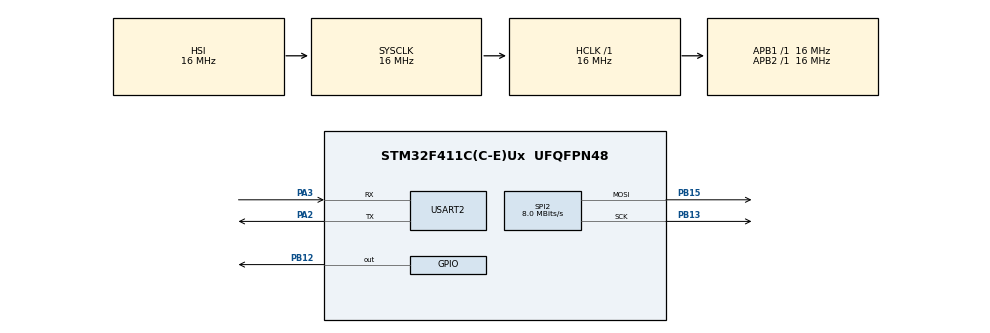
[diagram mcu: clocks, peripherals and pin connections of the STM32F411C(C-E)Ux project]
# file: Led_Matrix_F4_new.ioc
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Dma.Request0=SPI2_TX
Dma.Request1=USART2_RX
Dma.Request2=USART2_TX
Dma.SPI2_TX.0.Direction=DMA_MEMORY_TO_PERIPH
Dma.SPI2_TX.0.FIFOMode=DMA_FIFOMODE_ENABLE
Dma.SPI2_TX.0.FIFOThreshold=DMA_FIFO_THRESHOLD_FULL
Dma.SPI2_TX.0.Instance=DMA1_Stream4
Dma.SPI2_TX.0.MemBurst=DMA_MBURST_SINGLE
Dma.SPI2_TX.0.MemDataAlignment=DMA_MDATAALIGN_BYTE
Dma.SPI2_TX.0.MemInc=DMA_MINC_ENABLE
Dma.SPI2_TX.0.Mode=DMA_NORMAL
Dma.SPI2_TX.0.PeriphBurst=DMA_PBURST_SINGLE
Dma.SPI2_TX.0.PeriphDataAlignment=DMA_PDATAALIGN_BYTE
Dma.SPI2_TX.0.PeriphInc=DMA_PINC_DISABLE
Dma.SPI2_TX.0.Priority=DMA_PRIORITY_LOW
Dma.USART2_RX.1.Direction=DMA_PERIPH_TO_MEMORY
Dma.USART2_RX.1.FIFOMode=DMA_FIFOMODE_DISABLE
Dma.USART2_RX.1.Instance=DMA1_Stream5
Dma.USART2_RX.1.MemDataAlignment=DMA_MDATAALIGN_BYTE
Dma.USART2_RX.1.MemInc=DMA_MINC_ENABLE
Dma.USART2_RX.1.Mode=DMA_NORMAL
Dma.USART2_RX.1.PeriphDataAlignment=DMA_PDATAALIGN_BYTE
Dma.USART2_RX.1.PeriphInc=DMA_PINC_DISABLE
Dma.USART2_RX.1.Priority=DMA_PRIORITY_LOW
Dma.USART2_TX.2.Direction=DMA_MEMORY_TO_PERIPH
Dma.USART2_TX.2.FIFOMode=DMA_FIFOMODE_DISABLE
Dma.USART2_TX.2.Instance=DMA1_Stream6
Dma.USART2_TX.2.MemDataAlignment=DMA_MDATAALIGN_BYTE
Dma.USART2_TX.2.MemInc=DMA_MINC_ENABLE
Dma.USART2_TX.2.Mode=DMA_NORMAL
Dma.USART2_TX.2.PeriphDataAlignment=DMA_PDATAALIGN_BYTE
Dma.USART2_TX.2.PeriphInc=DMA_PINC_DISABLE
Dma.USART2_TX.2.Priority=DMA_PRIORITY_LOW
Mcu.Family=STM32F4
Mcu.Name=STM32F411C(C-E)Ux
Mcu.Package=UFQFPN48
NVIC.DMA1_Stream4_IRQn=true\:0\:0\:false\:false\:true\:false\:true
NVIC.DMA1_Stream5_IRQn=true\:0\:0\:false\:false\:true\:false\:true
NVIC.DMA1_Stream6_IRQn=true\:0\:0\:false\:false\:true\:false\:true
NVIC.PriorityGroup=NVIC_PRIORITYGROUP_4
NVIC.SPI2_IRQn=true\:0\:0\:false\:false\:true\:true\:true
NVIC.TIM3_IRQn=true\:0\:0\:false\:false\:true\:true\:true
NVIC.USART2_IRQn=true\:0\:0\:false\:false\:true\:true\:true
PA13.Mode=Serial_Wire
PA13.Signal=SYS_JTMS-SWDIO
PA14.Mode=Serial_Wire
PA14.Signal=SYS_JTCK-SWCLK
PA2.Mode=Asynchronous
PA2.Signal=USART2_TX
PA3.Mode=Asynchronous
PA3.Signal=USART2_RX
PB12.Signal=GPIO_Output
PB13.Mode=TX_Only_Simplex_Unidirect_Master
PB13.Signal=SPI2_SCK
PB14.Signal=SPI2_MISO
PB15.Mode=TX_Only_Simplex_Unidirect_Master
PB15.Signal=SPI2_MOSI
PH0\ -\ OSC_IN.Mode=HSE-External-Oscillator
PH0\ -\ OSC_IN.Signal=RCC_OSC_IN
PH1\ -\ OSC_OUT.Mode=HSE-External-Oscillator
PH1\ -\ OSC_OUT.Signal=RCC_OSC_OUT
ProjectManager.HeapSize=0x200
ProjectManager.StackSize=0x400
ProjectManager.TargetToolchain=STM32CubeIDE
RCC.AHBFreq_Value=16000000
RCC.APB1Freq_Value=16000000
RCC.APB2Freq_Value=16000000
RCC.CortexFreq_Value=16000000
RCC.HSE_VALUE=25000000
RCC.HSI_VALUE=16000000
RCC.LSE_VALUE=32768
RCC.SYSCLKFreq_VALUE=16000000
RCC.VCOOutputFreq_Value=192000000
SPI2.CalculateBaudRate=8.0 MBits/s
SPI2.Direction=SPI_DIRECTION_2LINES
SPI2.Mode=SPI_MODE_MASTER
SPI2.VirtualType=VM_MASTER
TIM3.Prescaler=15999
USART2.VirtualMode=VM_ASYNC
VP_TIM3_VS_ClockSourceINT.Mode=Internal
board=custom

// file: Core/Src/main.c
/* USER CODE BEGIN Header */
/**
  ******************************************************************************
  * @file           : main.c
  * @brief          : Main program body
  ******************************************************************************
  * @attention
  *
  * <h2><center>&copy; Copyright (c) 2023 STMicroelectronics.
  * All rights reserved.</center></h2>
  *
  * This software component is licensed by ST under BSD 3-Clause license,
  * the "License"; You may not use this file except in compliance with the
  * License. You may obtain a copy of the License at:
  *                        opensource.org/licenses/BSD-3-Clause
  *
  ******************************************************************************
  */
/* USER CODE END Header */
#include "main.h"

/* USER CODE BEGIN Includes */
#include <stdlib.h>
#include "led_matrix.h"
#include "command_line.h"

/* USER CODE END Includes */

SPI_HandleTypeDef hspi2;
DMA_HandleTypeDef hdma_spi2_tx;

TIM_HandleTypeDef htim3;

UART_HandleTypeDef huart2;
DMA_HandleTypeDef hdma_usart2_rx;
DMA_HandleTypeDef hdma_usart2_tx;

void SystemClock_Config(void);
static void MX_GPIO_Init(void);
static void MX_DMA_Init(void);
static void MX_SPI2_Init(void);
static void MX_USART2_UART_Init(void);
static void MX_TIM3_Init(void);

/* USER CODE BEGIN 0 */

uint8_t gu8_uart_rx =0;
LED_MATRIX_DATA_t led_matrix_data;
uint8_t gu8_flag_cplt_update = 0;

void HAL_UART_RxCpltCallback(UART_HandleTypeDef *huart)
{
	if(huart->Instance == huart2.Instance)
	{
		COMMAND_LINE_Receive(gu8_uart_rx);
		HAL_UART_Receive_DMA(&huart2, &gu8_uart_rx, 1);
	}
}

void HAL_SPI_TxCpltCallback(SPI_HandleTypeDef *hspi)
{
	LED_MATRIX_SPI_Handle(&led_matrix_data, hspi);
}

void HAL_TIM_PeriodElapsedCallback(TIM_HandleTypeDef *htim)
{
	if(htim->Instance == htim3.Instance){
		UPDATE_OUTPUT_Buf(&led_matrix_data, &gu8_flag_cplt_update);

	}
}
/* USER CODE END 0 */

int main(void)
{

  /* MCU Configuration--------------------------------------------------------*/

  /* Reset of all peripherals, Initializes the Flash interface and the Systick. */
  HAL_Init();

  /* Configure the system clock */
  SystemClock_Config();

  /* Initialize all configured peripherals */
  MX_GPIO_Init();
  MX_DMA_Init();
  MX_SPI2_Init();
  MX_USART2_UART_Init();
  MX_TIM3_Init();
  /* USER CODE BEGIN 2 */
  LED_MATRIX_Init(&led_matrix_data, &hspi2, GPIOB, 15, 4);

  HAL_UART_Receive_DMA(&huart2, &gu8_uart_rx, 1);

  htim3.Instance->ARR =  led_matrix_data.operation_param.u32_speed_run_text-1;
  HAL_TIM_Base_Start_IT(&htim3);

  /* USER CODE END 2 */

  /* Infinite loop */
  while (1)
  {

    /* USER CODE BEGIN 3 */
	  if(gu8_flag_cplt_update){
		  gu8_flag_cplt_update = 0;
		  PUSH_OUTPUT_Buf(&led_matrix_data);
	  }

  }

  /* USER CODE END 3 */
}

void SystemClock_Config(void)
{
  RCC_OscInitTypeDef RCC_OscInitStruct = {0};
  RCC_ClkInitTypeDef RCC_ClkInitStruct = {0};

  /** Configure the main internal regulator output voltage
  */
  __HAL_RCC_PWR_CLK_ENABLE();
  __HAL_PWR_VOLTAGESCALING_CONFIG(PWR_REGULATOR_VOLTAGE_SCALE1);
  /** Initializes the RCC Oscillators according to the specified parameters
  * in the RCC_OscInitTypeDef structure.
  */
  RCC_OscInitStruct.OscillatorType = RCC_OSCILLATORTYPE_HSI;
  RCC_OscInitStruct.HSIState = RCC_HSI_ON;
  RCC_OscInitStruct.HSICalibrationValue = RCC_HSICALIBRATION_DEFAULT;
  RCC_OscInitStruct.PLL.PLLState = RCC_PLL_NONE;
  if (HAL_RCC_OscConfig(&RCC_OscInitStruct) != HAL_OK)
  {
    Error_Handler();
  }
  /** Initializes the CPU, AHB and APB buses clocks
  */
  RCC_ClkInitStruct.ClockType = RCC_CLOCKTYPE_HCLK|RCC_CLOCKTYPE_SYSCLK
                              |RCC_CLOCKTYPE_PCLK1|RCC_CLOCKTYPE_PCLK2;
  RCC_ClkInitStruct.SYSCLKSource = RCC_SYSCLKSOURCE_HSI;
  RCC_ClkInitStruct.AHBCLKDivider = RCC_SYSCLK_DIV1;
  RCC_ClkInitStruct.APB1CLKDivider = RCC_HCLK_DIV1;
  RCC_ClkInitStruct.APB2CLKDivider = RCC_HCLK_DIV1;

  if (HAL_RCC_ClockConfig(&RCC_ClkInitStruct, FLASH_LATENCY_0) != HAL_OK)
  {
    Error_Handler();
  }
}

static void MX_SPI2_Init(void)
{

  /* SPI2 parameter configuration*/
  hspi2.Instance = SPI2;
  hspi2.Init.Mode = SPI_MODE_MASTER;
  hspi2.Init.Direction = SPI_DIRECTION_2LINES;
  hspi2.Init.DataSize = SPI_DATASIZE_8BIT;
  hspi2.Init.CLKPolarity = SPI_POLARITY_LOW;
  hspi2.Init.CLKPhase = SPI_PHASE_1EDGE;
  hspi2.Init.NSS = SPI_NSS_SOFT;
  hspi2.Init.BaudRatePrescaler = SPI_BAUDRATEPRESCALER_2;
  hspi2.Init.FirstBit = SPI_FIRSTBIT_MSB;
  hspi2.Init.TIMode = SPI_TIMODE_DISABLE;
  hspi2.Init.CRCCalculation = SPI_CRCCALCULATION_DISABLE;
  hspi2.Init.CRCPolynomial = 10;
  if (HAL_SPI_Init(&hspi2) != HAL_OK)
  {
    Error_Handler();
  }

}

static void MX_TIM3_Init(void)
{

  TIM_ClockConfigTypeDef sClockSourceConfig = {0};
  TIM_MasterConfigTypeDef sMasterConfig = {0};

  htim3.Instance = TIM3;
  htim3.Init.Prescaler = 15999;
  htim3.Init.CounterMode = TIM_COUNTERMODE_UP;
  htim3.Init.Period = 65535;
  htim3.Init.ClockDivision = TIM_CLOCKDIVISION_DIV1;
  htim3.Init.AutoReloadPreload = TIM_AUTORELOAD_PRELOAD_DISABLE;
  if (HAL_TIM_Base_Init(&htim3) != HAL_OK)
  {
    Error_Handler();
  }
  sClockSourceConfig.ClockSource = TIM_CLOCKSOURCE_INTERNAL;
  if (HAL_TIM_ConfigClockSource(&htim3, &sClockSourceConfig) != HAL_OK)
  {
    Error_Handler();
  }
  sMasterConfig.MasterOutputTrigger = TIM_TRGO_RESET;
  sMasterConfig.MasterSlaveMode = TIM_MASTERSLAVEMODE_DISABLE;
  if (HAL_TIMEx_MasterConfigSynchronization(&htim3, &sMasterConfig) != HAL_OK)
  {
    Error_Handler();
  }

}

static void MX_USART2_UART_Init(void)
{

  huart2.Instance = USART2;
  huart2.Init.BaudRate = 115200;
  huart2.Init.WordLength = UART_WORDLENGTH_8B;
  huart2.Init.StopBits = UART_STOPBITS_1;
  huart2.Init.Parity = UART_PARITY_NONE;
  huart2.Init.Mode = UART_MODE_TX_RX;
  huart2.Init.HwFlowCtl = UART_HWCONTROL_NONE;
  huart2.Init.OverSampling = UART_OVERSAMPLING_16;
  if (HAL_UART_Init(&huart2) != HAL_OK)
  {
    Error_Handler();
  }

}

static void MX_DMA_Init(void)
{

  /* DMA controller clock enable */
  __HAL_RCC_DMA1_CLK_ENABLE();

  /* DMA interrupt init */
  /* DMA1_Stream4_IRQn interrupt configuration */
  HAL_NVIC_SetPriority(DMA1_Stream4_IRQn, 0, 0);
  HAL_NVIC_EnableIRQ(DMA1_Stream4_IRQn);
  /* DMA1_Stream5_IRQn interrupt configuration */
  HAL_NVIC_SetPriority(DMA1_Stream5_IRQn, 0, 0);
  HAL_NVIC_EnableIRQ(DMA1_Stream5_IRQn);
  /* DMA1_Stream6_IRQn interrupt configuration */
  HAL_NVIC_SetPriority(DMA1_Stream6_IRQn, 0, 0);
  HAL_NVIC_EnableIRQ(DMA1_Stream6_IRQn);

}

static void MX_GPIO_Init(void)
{
  GPIO_InitTypeDef GPIO_InitStruct = {0};

  /* GPIO Ports Clock Enable */
  __HAL_RCC_GPIOH_CLK_ENABLE();
  __HAL_RCC_GPIOA_CLK_ENABLE();
  __HAL_RCC_GPIOB_CLK_ENABLE();

  /*Configure GPIO pin Output Level */
  HAL_GPIO_WritePin(GPIOB, GPIO_PIN_12, GPIO_PIN_RESET);

  /*Configure GPIO pin : PB12 */
  GPIO_InitStruct.Pin = GPIO_PIN_12;
  GPIO_InitStruct.Mode = GPIO_MODE_OUTPUT_PP;
  GPIO_InitStruct.Pull = GPIO_NOPULL;
  GPIO_InitStruct.Speed = GPIO_SPEED_FREQ_LOW;
  HAL_GPIO_Init(GPIOB, &GPIO_InitStruct);

}

void Error_Handler(void)
{
  __disable_irq();
  while (1)
  {
  }
}

/************************ (C) COPYRIGHT STMicroelectronics *****END OF FILE****/
